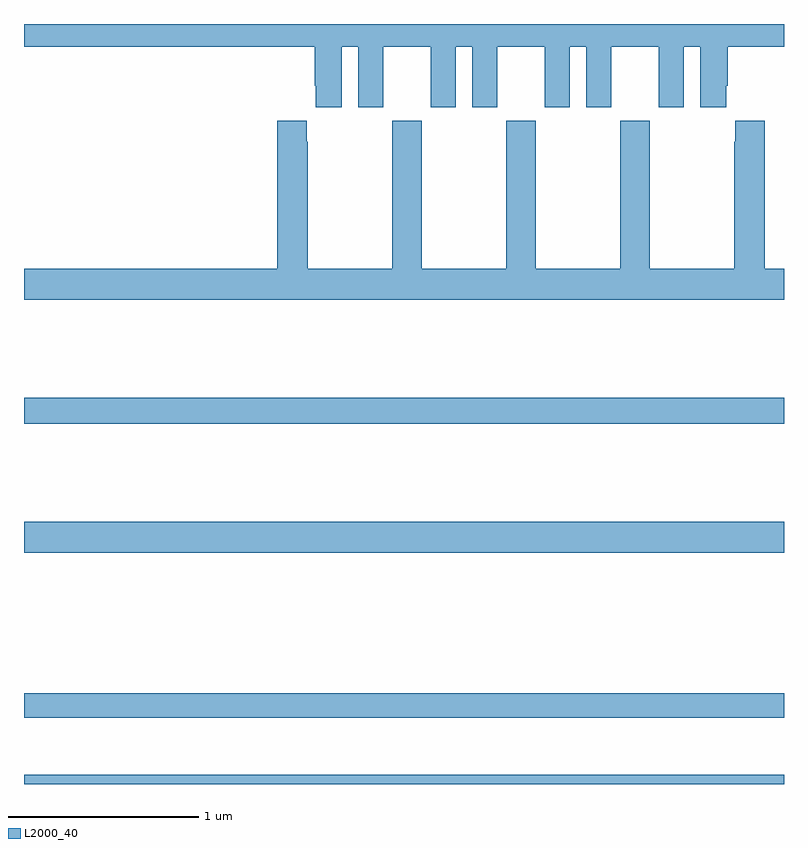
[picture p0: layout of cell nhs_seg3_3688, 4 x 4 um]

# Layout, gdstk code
import gdstk
lib = gdstk.Library(unit=1e-6, precision=1e-09)
def R(c, l, rs):  # rectangles x0, y0, x1, y1
    for r in rs: c.add(gdstk.rectangle(r[:2], r[2:], *l))
def P(c, l, *ps):  # polygons
    for p in ps: c.add(gdstk.Polygon(p, *l))
L2000_40 = (2000, 40)

nhs_seg3_3688 = lib.new_cell('nhs_seg3_3688')
R(nhs_seg3_3688, L2000_40, [(303,666.4,307,666.448), (303,666.75,307,666.878), (303,667.616,307,667.78), (303,668.296,307,668.432)])
P(nhs_seg3_3688, L2000_40, [(304.672,670.28),(304.76,670.28),(304.76,669.963),(304.891,669.963),(304.891,670.28),(305.141,670.28),(305.141,669.963),(305.272,669.963),(305.272,670.28),(305.36,670.28),(305.36,669.963),(305.491,669.963),(305.491,670.28),(305.741,670.28),(305.741,669.963),(305.872,669.963),(305.872,670.28),(305.96,670.28),(305.96,669.963),(306.091,669.963),(306.091,670.28),(306.341,670.28),(306.341,669.963),(306.472,669.963),(306.472,670.28),(306.56,670.28),(306.56,669.963),(306.697,669.963),(306.697,670.075),(306.704,670.075),(306.704,670.28),(307,670.28),(307,670.4),(303,670.4),(303,670.28),(304.529,670.28),(304.529,670.075),(304.535,670.075),(304.535,669.963),(304.672,669.963)],
  [(307,669.112),(306.899,669.112),(306.899,669.892),(306.743,669.892),(306.743,669.779),(306.739,669.779),(306.739,669.112),(306.294,669.112),(306.294,669.892),(306.139,669.892),(306.139,669.112),(305.694,669.112),(305.694,669.892),(305.539,669.892),(305.539,669.112),(305.094,669.112),(305.094,669.892),(304.939,669.892),(304.939,669.112),(304.494,669.112),(304.494,669.779),(304.489,669.779),(304.489,669.892),(304.334,669.892),(304.334,669.112),(303,669.112),(303,668.948),(307,668.948)])

lib.write_gds('nhs_seg3_3688.gds')
